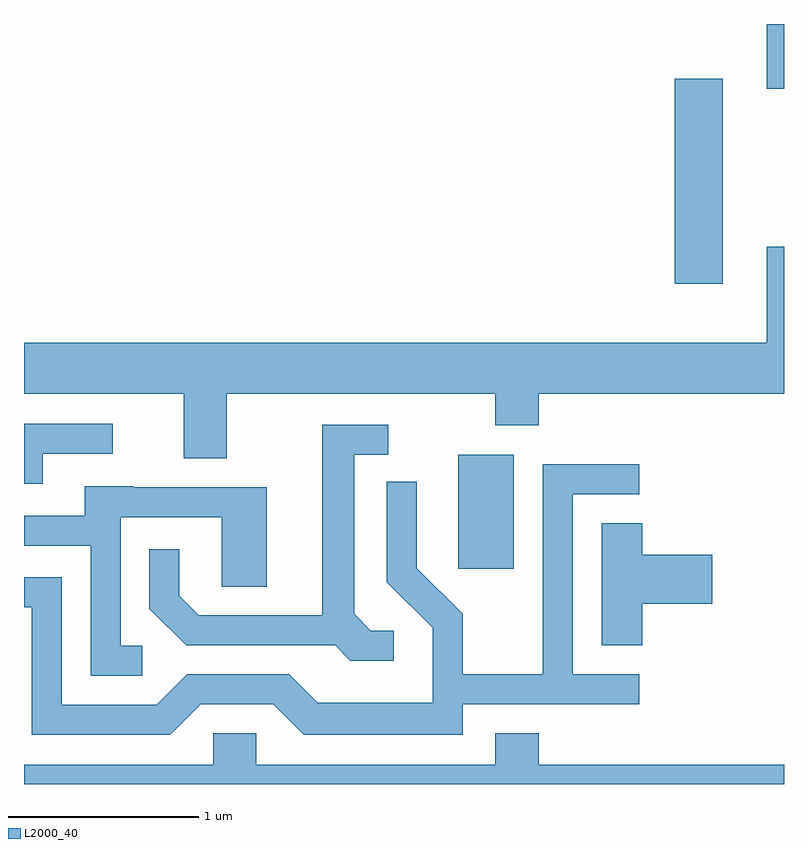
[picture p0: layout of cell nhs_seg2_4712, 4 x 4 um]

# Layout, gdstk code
import gdstk
lib = gdstk.Library(unit=1e-6, precision=1e-09)
def R(c, l, rs):  # rectangles x0, y0, x1, y1
    for r in rs: c.add(gdstk.rectangle(r[:2], r[2:], *l))
def P(c, l, *ps):  # polygons
    for p in ps: c.add(gdstk.Polygon(p, *l))
L2000_40 = (2000, 40)

nhs_seg2_4712 = lib.new_cell('nhs_seg2_4712')
R(nhs_seg2_4712, L2000_40, [(325.896,1062.936,326.189,1063.534), (327.036,1064.436,327.289,1065.514), (327.521,1065.461,327.611,1065.802)])
P(nhs_seg2_4712, L2000_40, [(324.679,1063.856),(326.091,1063.856),(326.091,1063.691),(326.319,1063.691),(326.319,1063.856),(327.611,1063.856),(327.611,1064.629),(327.521,1064.629),(327.521,1064.124),(323.611,1064.124),(323.611,1063.856),(324.451,1063.856),(324.451,1063.516),(324.679,1063.516)],
  [(323.709,1063.541),(324.078,1063.541),(324.078,1063.699),(323.611,1063.699),(323.611,1063.381),(323.709,1063.381)],
  [(325.558,1062.609),(325.437,1062.609),(325.349,1062.697),(325.349,1063.536),(325.528,1063.536),(325.528,1063.694),(325.181,1063.694),(325.181,1062.689),(324.532,1062.689),(324.429,1062.792),(324.429,1063.038),(324.271,1063.038),(324.271,1062.724),(324.464,1062.531),(325.249,1062.531),(325.329,1062.451),(325.558,1062.451)],
  [(324.542,1062.221),(324.924,1062.221),(325.084,1062.061),(325.919,1062.061),(325.919,1062.221),(326.848,1062.221),(326.848,1062.379),(326.499,1062.379),(326.499,1063.326),(326.848,1063.326),(326.848,1063.484),(326.341,1063.484),(326.341,1062.379),(325.919,1062.379),(325.919,1062.697),(325.679,1062.937),(325.679,1063.393),(325.521,1063.393),(325.521,1062.864),(325.761,1062.624),(325.761,1062.229),(325.157,1062.229),(325.007,1062.379),(324.469,1062.379),(324.309,1062.219),(323.809,1062.219),(323.809,1062.889),(323.611,1062.889),(323.611,1062.731),(323.651,1062.731),(323.651,1062.061),(324.382,1062.061)],
  [(324.233,1062.529),(324.119,1062.529),(324.119,1063.206),(324.651,1063.206),(324.651,1062.841),(324.889,1062.841),(324.889,1063.364),(324.185,1063.364),(324.185,1063.369),(323.931,1063.369),(323.931,1063.214),(323.611,1063.214),(323.611,1063.056),(323.961,1063.056),(323.961,1062.371),(324.233,1062.371)],
  [(326.864,1062.751),(327.234,1062.751),(327.234,1063.009),(326.864,1063.009),(326.864,1063.174),(326.651,1063.174),(326.651,1062.531),(326.864,1062.531)],
  [(327.611,1061.904),(326.319,1061.904),(326.319,1062.069),(326.091,1062.069),(326.091,1061.904),(324.834,1061.904),(324.834,1062.069),(324.606,1062.069),(324.606,1061.904),(323.611,1061.904),(323.611,1061.802),(327.611,1061.802)])

lib.write_gds('nhs_seg2_4712.gds')
